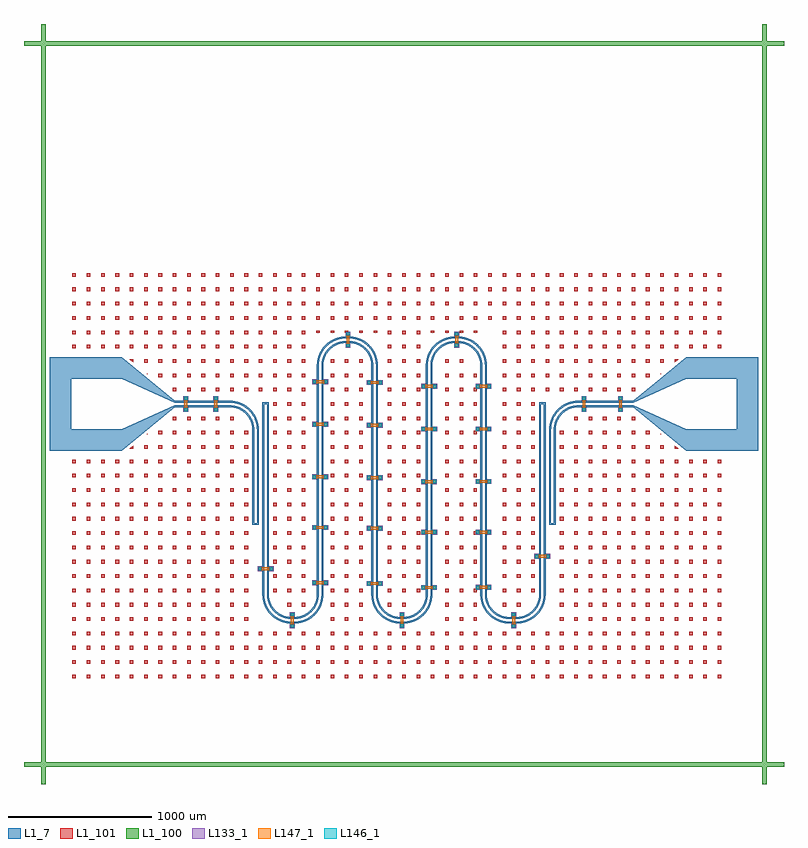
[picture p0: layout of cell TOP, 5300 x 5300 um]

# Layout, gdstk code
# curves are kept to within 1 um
from math import pi, radians
import gdstk
lib = gdstk.Library(unit=1e-6, precision=1e-09)
def R(c, l, rs):  # rectangles x0, y0, x1, y1
    for r in rs: c.add(gdstk.rectangle(r[:2], r[2:], *l))
def A(c, l, x, y, w, h, nx, ny, dx, dy):  # array of equal rectangles
    R(c, l, [(x+i*dx, y+j*dy, x+i*dx+w, y+j*dy+h) for i in range(nx) for j in range(ny)])
def P(c, l, *ps):  # polygons
    for p in ps: c.add(gdstk.Polygon(p, *l))
L1_7 = (1, 7)
L1_100 = (1, 100)
L1_101 = (1, 101)
L133_1 = (133, 1)
L146_1 = (146, 1)
L147_1 = (147, 1)

ground_main_1 = lib.new_cell('ground_main_1')

top_main_1_one_hole = lib.new_cell('TOP_main_1_one_hole')

top_main_1_cheese_diff = lib.new_cell('TOP_main_1_Cheese_diff')

top_main_1_cheese_100 = lib.new_cell('TOP_main_1_Cheese_100')

top_main_1 = lib.new_cell('TOP_main_1')
top_main_1.add(gdstk.Reference(ground_main_1, (0,0)))
top_main_1.add(gdstk.Reference(top_main_1_one_hole, (0,0)))
top_main_1.add(gdstk.Reference(top_main_1_cheese_diff, (0,0)))
top_main_1.add(gdstk.Reference(top_main_1_cheese_100, (0,0)))

top_main_1_nocheese_99 = lib.new_cell('TOP_main_1_NoCheese_99')

top_main = lib.new_cell('TOP_main')
top_main.add(gdstk.Reference(top_main_1, (0,0)))
top_main.add(gdstk.Reference(top_main_1_nocheese_99, (0,0)))

airbridge_rectangular = lib.new_cell('Airbridge$Rectangular')
R(airbridge_rectangular, L133_1, [(-17,-55,17,-25), (-17,25,17,55)])
R(airbridge_rectangular, L146_1, [(-12,-50,12,-30), (-12,30,12,50)])
R(airbridge_rectangular, L147_1, [(-10,-48,10,48)])
airbridge_rectangular.add(gdstk.Label('a', (0,30), layer=154, texttype=1))
airbridge_rectangular.add(gdstk.Label('b', (0,-30), layer=154, texttype=1))
airbridge_rectangular.add(gdstk.Label('base', (0,0), layer=225, texttype=0))
airbridge_rectangular.add(gdstk.Label('port_a', (0,30), layer=225, texttype=0))
airbridge_rectangular.add(gdstk.Label('port_a_corner', (0,130), layer=225, texttype=0))
airbridge_rectangular.add(gdstk.Label('port_b', (0,-30), layer=225, texttype=0))
airbridge_rectangular.add(gdstk.Label('port_b_corner', (0,-130), layer=225, texttype=0))

top = lib.new_cell('TOP')
P(top, L1_7, [(-1057,-842),(-1057,-180),(-1058.43,-158.791),(-1062.694,-137.966),(-1069.715,-117.902),(-1079.365,-98.962),(-1091.471,-81.489),(-1105.812,-65.798),(-1122.13,-52.175),(-1140.129,-40.866),(-1159.483,-32.075),(-1183.307,-25.211),(-1211.455,-22.04),(-1600,-22),(-1970,-325),(-2470,-325),(-2470,175),(-2320,175),(-2320,-175),(-1970,-175),(-1600,-10),(-1211.291,-10.04),(-1185.48,-12.583),(-1160.355,-19.022),(-1139.811,-27.532),(-1120.553,-38.65),(-1102.911,-52.187),(-1084.772,-70.726),(-1071.623,-88.659),(-1060.928,-108.155),(-1052.868,-128.88),(-1047.583,-150.48),(-1045,-180),(-1045,-830),(-1025,-830),(-1025.632,-164.513),(-1032.696,-126.471),(-1045.533,-94.087),(-1066.452,-61.537),(-1093.531,-33.899),(-1118.883,-16.105),(-1143.186,-4.094),(-1168.951,4.335),(-1199.513,9.368),(-1600,10),(-1970,175),(-2470,175),(-2470,325),(-1970,325),(-1600,22),(-1194.951,21.003),(-1163.365,15.289),(-1136.771,6.237),(-1108.259,-8.505),(-1085.499,-24.973),(-1057.428,-53.607),(-1043.505,-73.259),(-1033.758,-90.808),(-1019.711,-128.365),(-1014.953,-151.975),(-1013.16,-171.969),(-1013,-842)],
  [(1013,-842),(1013.997,-159.951),(1021.918,-120.642),(1037.447,-83.673),(1059.973,-50.499),(1088.607,-22.428),(1115.162,-4.397),(1140.489,7.756),(1171.17,17.188),(1198.951,21.361),(1600,22),(1786.832,175),(1970,175),(1600,10),(1215,10),(1191.802,8.579),(1161.471,2.304),(1129.087,-10.533),(1099.592,-29.066),(1073.976,-52.673),(1055.162,-77.278),(1039.094,-108.186),(1028.94,-141.508),(1025.158,-172.25),(1025,-830),(1045,-830),(1045.647,-165.184),(1048.267,-146.835),(1052.868,-128.88),(1065.956,-98.232),(1084.772,-70.726),(1108.593,-47.42),(1130,-32.776),(1153.386,-21.559),(1178.205,-14.03),(1203.881,-10.364),(1600,-10),(1970,-175),(2320,-175),(2320,175),(1786.832,175),(1970,325),(2470,325),(2470,-325),(1970,-325),(1600,-22),(1204.371,-22.358),(1179.842,-25.961),(1159.483,-32.075),(1137.026,-42.581),(1116.489,-56.471),(1093.712,-78.742),(1077.581,-102.026),(1065.866,-127.816),(1058.43,-158.791),(1057,-180),(1057,-842)],
  [(-785,-1530.257),(-820.956,-1527.031),(-855.763,-1517.457),(-888.31,-1501.84),(-917.558,-1480.679),(-942.572,-1454.65),(-962.553,-1424.584),(-976.864,-1391.442),(-985.047,-1356.281),(-987,-1328.257),(-987,12),(-943,12),(-943,-1328.257),(-939.039,-1363.415),(-932.925,-1383.774),(-924.134,-1403.128),(-912.825,-1421.127),(-899.202,-1437.445),(-883.511,-1451.786),(-866.038,-1463.892),(-847.098,-1473.542),(-830.441,-1479.581),(-813.212,-1483.718),(-792.089,-1486.098),(-757.911,-1486.098),(-733.307,-1483.045),(-712.816,-1477.39),(-693.27,-1469.036),(-675.021,-1458.133),(-658.402,-1444.879),(-637.175,-1421.127),(-621.145,-1393.599),(-610.961,-1363.415),(-607.04,-1331.802),(-606.641,280.299),(-600.289,319.891),(-586.242,357.449),(-565.053,391.492),(-537.558,420.679),(-518.474,435.372),(-494.192,449.499),(-471.987,458.826),(-444.901,466.277),(-417.042,469.897),(-376.969,470.097),(-353.004,467.706),(-329.493,462.481),(-303.084,452.902),(-281.69,441.84),(-261.765,428.31),(-240.751,409.665),(-224.947,391.492),(-210.223,369.515),(-198.763,346.485),(-190.776,323.764),(-184.953,296.281),(-183,268.257),(-182.007,-1345.947),(-175.267,-1377.081),(-162.419,-1406.231),(-143.985,-1432.211),(-120.715,-1453.965),(-93.554,-1470.61),(-63.606,-1481.468),(-35.629,-1485.899),(2.089,-1486.098),(30.158,-1482.295),(57.098,-1473.542),(82.042,-1460.119),(104.188,-1442.458),(122.825,-1421.127),(137.353,-1396.81),(147.306,-1370.29),(152.364,-1342.42),(153,268.257),(156.226,304.212),(165.8,339.019),(181.417,371.567),(205.244,403.819),(231.765,428.31),(258.673,445.81),(286.444,458.257),(355,458.257),(320.312,455.063),(286.789,445.591),(255.56,430.157),(227.673,409.281),(204.066,383.665),(185.533,354.169),(172.696,321.786),(165.988,287.603),(165,-1328.257),(163.021,-1354.118),(157.132,-1379.377),(145.792,-1406.754),(132.096,-1428.779),(112.557,-1451.059),(89.447,-1469.606),(63.467,-1483.86),(35.407,-1493.385),(9.816,-1497.61),(-28.709,-1498.216),(-54.52,-1495.674),(-83.143,-1488.004),(-110,-1475.481),(-134.274,-1458.484),(-155.228,-1437.531),(-174.044,-1410.025),(-185.978,-1382.901),(-192.417,-1357.777),(-195,-1328.257),(-195,268.257),(-196.934,295.296),(-206.312,332.836),(-223.1,367.697),(-234.066,383.665),(-249.286,401.23),(-279.039,425.966),(-313.186,444.162),(-350.312,455.063),(-385,458.257),(-412.75,458.099),(-435.87,455.732),(-465.921,448.225),(-490.913,437.724),(-517.305,421.513),(-540.714,401.23),(-560.515,377.413),(-576.184,350.695),(-587.304,321.786),(-593.579,291.455),(-595,268.257),(-595.162,-1335.672),(-599.872,-1368.663),(-605.252,-1386.4),(-612.532,-1403.446),(-621.623,-1419.598),(-632.42,-1434.664),(-655.726,-1458.484),(-673.659,-1471.633),(-693.155,-1482.329),(-713.88,-1490.389),(-735.48,-1495.674),(-757.585,-1498.095),(-792.415,-1498.095),(-814.52,-1495.674),(-836.12,-1490.389),(-856.845,-1482.329),(-876.341,-1471.633),(-894.274,-1458.484),(-910.337,-1443.107),(-924.256,-1425.765),(-935.792,-1406.754),(-944.748,-1386.4),(-950.97,-1365.051),(-953.99,-1346.764),(-955,-1328.257),(-955,0),(-975,0),(-974.012,-1347.603),(-969.335,-1374.305),(-960.906,-1400.07),(-946.9,-1427.697),(-931.101,-1449.725),(-909.424,-1471.849),(-887.722,-1488.095),(-863.929,-1501.087),(-834.799,-1511.614),(-796.621,-1517.901),(-761.124,-1518.217),(-741.802,-1516.835),(-704.079,-1508.225),(-668.883,-1492.152),(-652.695,-1481.513),(-634.823,-1466.655),(-618.899,-1449.725),(-607.29,-1434.218),(-589.094,-1400.07),(-581.642,-1378.056),(-577.525,-1359.127),(-575,-1328.257),(-574.838,275.672),(-570.128,308.663),(-564.748,326.4),(-557.468,343.446),(-548.377,359.598),(-537.58,374.664),(-514.274,398.484),(-496.341,411.633),(-476.845,422.329),(-456.12,430.389),(-434.52,435.674),(-412.415,438.095),(-377.585,438.095),(-355.48,435.674),(-333.88,430.389),(-313.155,422.329),(-293.659,411.633),(-275.726,398.484),(-259.663,383.107),(-245.744,365.765),(-234.208,346.754),(-225.252,326.4),(-219.03,305.051),(-216.01,286.764),(-215,268.257),(-214.368,-1343.743),(-209.825,-1372.256),(-200.906,-1400.07),(-186.9,-1427.697),(-171.101,-1449.725),(-149.424,-1471.849),(-127.722,-1488.095),(-100.387,-1502.661),(-71.049,-1512.592),(-32.75,-1518.099),(2.75,-1518.099),(22.04,-1516.323),(59.579,-1506.945),(94.44,-1490.157),(125.177,-1466.655),(141.101,-1449.725),(152.71,-1434.218),(164.467,-1414.169),(172.334,-1396.467),(178.358,-1378.056),(183.066,-1355.296),(185,-1328.257),(185.04,271.965),(187.583,297.777),(192.868,319.377),(202.532,343.446),(215.744,365.765),(232.198,385.814),(251.511,403.127),(273.232,417.3),(296.857,428.004),(318.205,434.227),(343.881,437.893),(382.415,438.095),(404.52,435.674),(429.645,429.235),(453.497,419.049),(472.508,407.513),(492.557,391.059),(507.58,374.664),(522.224,353.257),(532.06,333.313),(540.128,308.663),(543.99,286.764),(545,268.257),(545.356,-1339.877),(548.193,-1362.945),(555.031,-1389.177),(563.816,-1410.695),(577.29,-1434.218),(591.408,-1452.68),(610.576,-1471.849),(632.278,-1488.095),(656.071,-1501.087),(674.079,-1508.225),(696.508,-1514.317),(735,-1518.257),(788.876,-1518.217),(808.198,-1516.835),(834.799,-1511.614),(860.387,-1502.661),(881.117,-1492.152),(900.408,-1479.19),(917.973,-1463.97),(933.548,-1446.72),(946.9,-1427.697),(957.83,-1407.186),(964.969,-1389.177),(971.06,-1366.748),(975,-1328.257),(975,0),(955,0),(955,-1328.257),(953.99,-1346.764),(950.97,-1365.051),(944.748,-1386.4),(935.792,-1406.754),(924.256,-1425.765),(910.337,-1443.107),(894.274,-1458.484),(876.341,-1471.633),(860.189,-1480.725),(839.645,-1489.235),(818.165,-1494.99),(796.119,-1497.893),(720.184,-1497.61),(698.205,-1494.227),(680.355,-1489.235),(659.811,-1480.725),(640.553,-1469.606),(625.726,-1458.484),(609.663,-1443.107),(595.744,-1425.765),(585.956,-1410.025),(577.94,-1393.313),(570.793,-1372.256),(566.979,-1354.118),(565.162,-1335.672),(565,268.257),(561.807,302.945),(550.906,340.07),(540.822,361.01),(530.515,377.413),(518.592,392.68),(502.327,409.281),(484.156,423.772),(467.753,434.078),(435.921,448.225),(402.04,456.323),(378.876,458.217),(286.444,458.257),(307.258,464.534),(330.958,468.821),(350.984,470.217),(387.042,469.897),(410.956,467.031),(430.507,462.481),(453.229,454.494),(471.327,445.81),(491.775,433.083),(507.558,420.679),(522.032,406.769),(537.472,388.285),(549.777,369.515),(559.645,350.173),(568.082,327.614),(573.774,304.212),(577,268.257),(577.159,-1335.345),(578.945,-1352.973),(583.675,-1373.697),(589.715,-1390.355),(599.365,-1409.295),(620.798,-1437.445),(633.742,-1449.545),(650.939,-1462.039),(666.446,-1470.61),(686.175,-1478.524),(720.837,-1485.621),(795.629,-1485.899),(816.693,-1483.045),(837.184,-1477.39),(853.554,-1470.61),(872.042,-1460.119),(886.258,-1449.545),(901.623,-1434.855),(912.825,-1421.127),(924.134,-1403.128),(932.925,-1383.774),(939.039,-1363.415),(943,-1328.257),(943,12),(987,12),(987,-1328.257),(986.003,-1348.306),(982.188,-1372.086),(975.569,-1395.244),(966.242,-1417.449),(954.339,-1438.386),(940.027,-1457.758),(923.513,-1475.288),(905.029,-1490.729),(884.838,-1503.859),(863.229,-1514.494),(836.635,-1523.546),(809.042,-1528.821),(789.016,-1530.217),(735,-1530.257),(695.099,-1526.277),(675.642,-1521.339),(653.084,-1512.902),(628.259,-1499.751),(605.499,-1483.284),(587.968,-1466.769),(570.174,-1445.031),(555.567,-1421.035),(544.431,-1395.244),(536.98,-1368.157),(533.359,-1340.299),(533,268.257),(529.039,303.415),(522.925,323.774),(512.419,346.231),(500.709,363.971),(484.188,382.458),(464.979,398.133),(446.73,409.036),(423.825,418.524),(403.212,423.718),(382.089,426.098),(344.371,425.899),(319.842,422.295),(299.483,416.182),(280.129,407.391),(259.285,393.965),(240.798,377.445),(225.124,358.235),(214.221,339.987),(204.733,317.081),(198.945,292.973),(197.04,271.802),(197,-1328.257),(194.45,-1360.253),(189.224,-1383.764),(182.756,-1402.767),(164.339,-1438.386),(152.572,-1454.65),(136.408,-1472.505),(118.235,-1488.31),(101.741,-1499.751),(65.763,-1517.457),(42.742,-1524.534),(23.025,-1528.303),(3.031,-1530.097),(-33.031,-1530.097),(-72.742,-1524.534),(-103.229,-1514.494),(-131.741,-1499.751),(-157.558,-1480.679),(-180.027,-1457.758),(-198.583,-1431.567),(-212.756,-1402.767),(-222.188,-1372.086),(-226.361,-1344.306),(-227,268.257),(-230.961,303.415),(-237.075,323.774),(-245.866,343.128),(-257.175,361.127),(-270.798,377.445),(-286.489,391.786),(-303.962,403.892),(-322.902,413.542),(-339.559,419.581),(-356.788,423.718),(-377.911,426.098),(-412.089,426.098),(-433.212,423.718),(-453.825,418.524),(-473.554,410.61),(-492.042,400.119),(-508.954,387.242),(-530.709,363.971),(-547.353,336.81),(-559.039,303.415),(-562.96,271.802),(-563,-1328.257),(-564.953,-1356.281),(-573.136,-1391.442),(-589.397,-1428.095),(-609.973,-1457.758),(-638.607,-1485.828),(-668.673,-1505.81),(-705.642,-1521.339),(-740.958,-1528.821)])
P(top, L1_100, [(-2530,-915.998),(-2530,2500),(-2650,2500),(-2650,2530),(-2530,2530),(-2530,2650),(-2510,2650),(-2510,2515),(-2515,2515),(-2515,2510),(-2510,2510),(-2510,2650),(-2500,2650),(-2500,2530),(922.272,2530),(922.272,2500),(-2500,2500),(-2500,-915.998)],
  [(2500,-175.671),(2500,2500),(513.4,2500),(513.4,2530),(2500,2530),(2500,2650),(2515,2650),(2515,2515),(2510,2515),(2510,2510),(2515,2510),(2515,2650),(2530,2650),(2530,2530),(2650,2530),(2650,2500),(2530,2500),(2530,-175.671)],
  [(-2530,-2650),(-2530,-2530),(-2650,-2530),(-2650,-2500),(-2530,-2500),(-2530,-815.607),(-2510,-815.607),(-2510,-2510),(-2515,-2510),(-2515,-2515),(-2510,-2515),(-2510,-815.607),(-2500,-815.607),(-2500,-2500),(633.67,-2500),(633.67,-2530),(-2500,-2530),(-2500,-2650)],
  [(2500,-2650),(2500,-2530),(517.86,-2530),(517.86,-2500),(2500,-2500),(2500,-35.3),(2515,-35.3),(2515,-2510),(2510,-2510),(2510,-2515),(2515,-2515),(2515,-35.3),(2530,-35.3),(2530,-2500),(2650,-2500),(2650,-2530),(2530,-2530),(2530,-2650)])
A(top, L1_101, -2312.5, -1912.5, 25, 25, 46, 4, 100, 100)
A(top, L1_101, -2312.5, -1512.5, 25, 25, 13, 12, 100, 100)
A(top, L1_101, -512.5, -1512.5, 25, 25, 3, 19, 100, 100)
A(top, L1_101, 287.5, -1512.5, 25, 25, 1, 19, 0, 100)
A(top, L1_101, 387.5, -1512.5, 25, 25, 1, 19, 0, 100)
A(top, L1_101, 487.5, -1512.5, 20.5, 25, 1, 18, 0, 100)
A(top, L1_101, 1087.5, -1512.5, 25, 25, 12, 12, 100, 100)
A(top, L1_101, -912.5, -1312.5, 25, 25, 3, 14, 100, 100)
A(top, L1_101, -112.5, -1312.5, 25, 25, 3, 19, 100, 100)
A(top, L1_101, 687.5, -1312.5, 25, 25, 3, 14, 100, 100)
A(top, L1_101, -1812.5, -312.5, 25, 25, 8, 1, 100, 0)
A(top, L1_101, 1087.5, -312.5, 25, 25, 8, 1, 100, 0)
A(top, L1_101, -1712.5, -212.5, 25, 25, 7, 1, 100, 0)
A(top, L1_101, 1087.5, -212.5, 25, 25, 7, 1, 100, 0)
A(top, L1_101, -1612.5, -112.5, 25, 25, 5, 1, 100, 0)
A(top, L1_101, 1187.5, -112.5, 25, 25, 5, 1, 100, 0)
A(top, L1_101, -1612.5, 87.5, 25, 25, 10, 1, 100, 0)
A(top, L1_101, 687.5, 87.5, 25, 25, 10, 1, 100, 0)
A(top, L1_101, -1712.5, 187.5, 25, 25, 11, 1, 100, 0)
A(top, L1_101, 687.5, 187.5, 25, 25, 11, 1, 100, 0)
A(top, L1_101, -1812.5, 287.5, 25, 25, 12, 1, 100, 0)
A(top, L1_101, 687.5, 287.5, 25, 25, 12, 1, 100, 0)
A(top, L1_101, -2312.5, 387.5, 25, 25, 17, 2, 100, 100)
A(top, L1_101, 687.5, 387.5, 25, 25, 16, 2, 100, 100)
A(top, L1_101, -612.5, 495.257, 25, 17.243, 5, 1, 100, 0)
A(top, L1_101, 187.5, 495.257, 25, 17.243, 4, 1, 100, 0)
A(top, L1_101, -2312.5, 587.5, 25, 25, 46, 4, 100, 100)
R(top, L1_101, [(-812.5,-1412.5,-787.5,-1387.5), (-712.5,-1412.5,-687.5,-1387.5), (-112.5,-1412.5,-87.5,-1387.5), (-12.5,-1412.5,12.5,-1387.5), (687.5,-1412.5,712.5,-1387.5), (787.5,-1412.5,812.5,-1387.5)])
P(top, L1_101, [(1887.5,289.752),(1887.5,312.5),(1912.5,312.5),(1912.5,310.225)],
  [(-1887.5,289.752),(-1912.5,310.225),(-1912.5,312.5),(-1887.5,312.5)],
  [(1787.5,207.86),(1787.5,212.5),(1793.165,212.5)],
  [(-1787.5,207.86),(-1793.165,212.5),(-1787.5,212.5)],
  [(-1793.165,-212.5),(-1787.5,-207.86),(-1787.5,-212.5)],
  [(1787.5,-212.5),(1787.5,-207.86),(1793.165,-212.5)],
  [(-1912.5,-312.5),(-1912.5,-310.225),(-1887.5,-289.752),(-1887.5,-312.5)],
  [(1887.5,-312.5),(1887.5,-289.752),(1912.5,-310.225),(1912.5,-312.5)])
top.add(gdstk.Reference(top_main, (0,0)))
top.add(gdstk.Reference(airbridge_rectangular, (-1521.799,-0.036)))
top.add(gdstk.Reference(airbridge_rectangular, (-584.28,155.224), rotation=3*pi/2))
top.add(gdstk.Reference(airbridge_rectangular, (-1311.817,0.118)))
top.add(gdstk.Reference(airbridge_rectangular, (-778.557,-1508.092)))
top.add(gdstk.Reference(airbridge_rectangular, (-13.823,-1507.678)))
top.add(gdstk.Reference(airbridge_rectangular, (764.721,-1507.932)))
top.add(gdstk.Reference(airbridge_rectangular, (-390.24,448.262)))
top.add(gdstk.Reference(airbridge_rectangular, (367.304,448.459)))
top.add(gdstk.Reference(airbridge_rectangular, (1255.521,0.002)))
top.add(gdstk.Reference(airbridge_rectangular, (1509.907,-0.041)))
top.add(gdstk.Reference(airbridge_rectangular, (-584.536,-141.966), rotation=3*pi/2))
top.add(gdstk.Reference(airbridge_rectangular, (-584.956,-508.552), rotation=3*pi/2))
top.add(gdstk.Reference(airbridge_rectangular, (-584.483,-861.419), rotation=3*pi/2))
top.add(gdstk.Reference(airbridge_rectangular, (-584.767,-1246.71), rotation=3*pi/2))
top.add(gdstk.Reference(airbridge_rectangular, (-204.172,149.789), rotation=3*pi/2))
top.add(gdstk.Reference(airbridge_rectangular, (-204.428,-147.401), rotation=3*pi/2))
top.add(gdstk.Reference(airbridge_rectangular, (-204.848,-513.987), rotation=3*pi/2))
top.add(gdstk.Reference(airbridge_rectangular, (-204.375,-866.854), rotation=3*pi/2))
top.add(gdstk.Reference(airbridge_rectangular, (-204.659,-1252.145), rotation=3*pi/2))
top.add(gdstk.Reference(airbridge_rectangular, (175.609,122.588), rotation=3*pi/2))
top.add(gdstk.Reference(airbridge_rectangular, (175.353,-174.602), rotation=3*pi/2))
top.add(gdstk.Reference(airbridge_rectangular, (174.933,-541.188), rotation=3*pi/2))
top.add(gdstk.Reference(airbridge_rectangular, (175.406,-894.055), rotation=3*pi/2))
top.add(gdstk.Reference(airbridge_rectangular, (175.122,-1279.346), rotation=3*pi/2))
top.add(gdstk.Reference(airbridge_rectangular, (555.047,122.981), rotation=3*pi/2))
top.add(gdstk.Reference(airbridge_rectangular, (554.791,-174.209), rotation=3*pi/2))
top.add(gdstk.Reference(airbridge_rectangular, (554.371,-540.795), rotation=3*pi/2))
top.add(gdstk.Reference(airbridge_rectangular, (554.844,-893.662), rotation=3*pi/2))
top.add(gdstk.Reference(airbridge_rectangular, (554.56,-1278.953), rotation=3*pi/2))
top.add(gdstk.Reference(airbridge_rectangular, (964.51,-1062.896), rotation=3*pi/2))
top.add(gdstk.Reference(airbridge_rectangular, (-964.524,-1148.89), rotation=3*pi/2))

lib.write_gds('TOP.gds')
